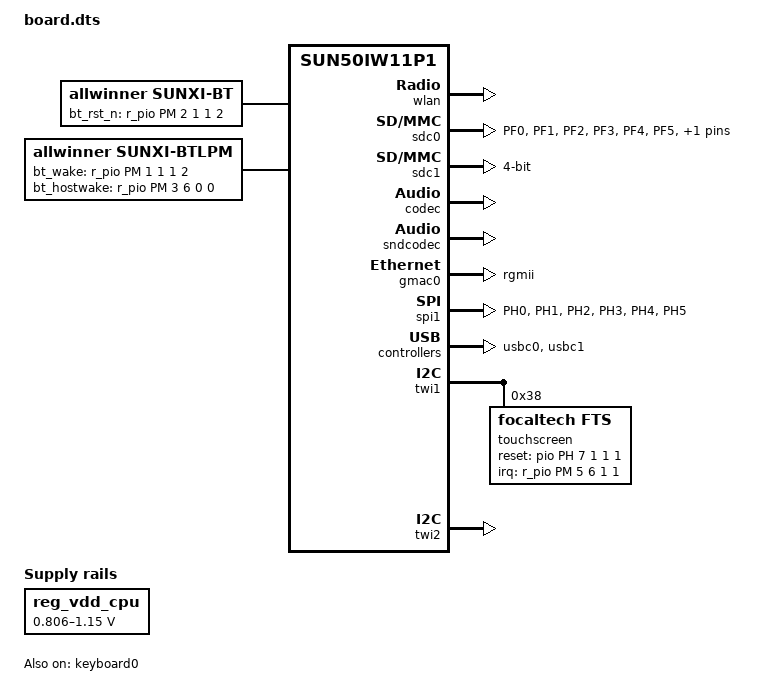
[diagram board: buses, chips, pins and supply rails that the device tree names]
/*
 * Allwinner Technology CO., Ltd. sun8iw15p1 soc board.
 *
 * soc board support.
 */

/dts-v1/;
#include <dt-bindings/pwm/pwm.h>
#include "sun50iw11p1.dtsi"
/{
	compatible = "allwinner,r329", "arm,sun50iw11p1";

	aliases {
		standby_param = &standby_param;
	};

	reg_vdd_cpu: vdd-cpu {
		compatible = "sunxi-pwm-regulator";
		pwms = <&pwm 6 5000 0>;
		regulator-name = "vdd_cpu";
		regulator-min-microvolt = <806000>;
		regulator-max-microvolt = <1150000>;
		regulator-ramp-delay = <25>;
		regulator-always-on;
		regulator-boot-on;
		status = "okay";
	};

	cpu_opp_l_table: opp_l_table {
		compatible = "operating-points-v2";
		opp-shared;

		opp@720000000 {
			opp-hz = /bits/ 64 <720000000>;
			opp-microvolt = <820000>;
			clock-latency-ns = <244144>;
		};
		opp@936000000 {
			opp-hz = /bits/ 64 <936000000>;
			opp-microvolt = <820000>;
			clock-latency-ns = <244144>;
		};
		opp@1104000000 {
			opp-hz = /bits/ 64 <1104000000>;
			opp-microvolt = <900000>;
			clock-latency-ns = <244144>;
		};
		opp@1200000000 {
			opp-hz = /bits/ 64 <1200000000>;
			opp-microvolt = <950000>;
			clock-latency-ns = <244144>;
		};
		opp@1320000000 {
			opp-hz = /bits/ 64 <1320000000>;
			opp-microvolt = <1000000>;
			clock-latency-ns = <244144>;
		};
		opp@1416000000 {
			opp-hz = /bits/ 64 <1416000000>;
			opp-microvolt = <1050000>;
			clock-latency-ns = <244144>;
		};
		opp@1512000000 {
			opp-hz = /bits/ 64 <1512000000>;
			opp-microvolt = <1050000>;
			clock-latency-ns = <244144>;
		};
	};

	soc@03000000 {

		wlan:wlan {
			compatible = "allwinner,sunxi-wlan";
			clocks = <&clk_losc_out>;
			wlan_busnum   = <0x1>;
			wlan_regon    = <&r_pio PM 0 1 0xffffffff 0xffffffff 0>;
			wlan_hostwake = <&r_pio PM 4 6 0xffffffff 0xffffffff 0>;
			status = "okay";
			wakeup-source;
		};

		bt:bt {
			compatible = "allwinner,sunxi-bt";
			clocks = <&clk_losc_out>;
			bt_rst_n = <&r_pio PM 2 1 1 2 0>;
			status = "okay";
		};
		btlpm:btlpm {
			compatible = "allwinner,sunxi-btlpm";
			uart_index = <1>;
			bt_wake = <&r_pio PM 1 1 1 2 1>;
			bt_hostwake = <&r_pio PM 3 6 0 0 0>;
			status = "okay";
		};

		standby_param: standby_param {
			vdd-cpu = <0x00000000>;
			vdd-sys = <0x00000000>;
			vcc-pll = <0x00000000>;

			osc24m-on = <0x1>;
			pllcpu-off = <0x1>;
			pllperiph0-off = <0x1>;
			pllaudio0-off = <0x0>;
			pllaudio1-off = <0x1>;
			ahb1ahb2-to-32k = <0x1>;
			apb1-to-32k = <0x0>;
			apb2-to-32k = <0x1>;
			axi-to-32k = <0x1>;
			apbs0-to-32k = <0x0>;
			apbs1-to-32k = <0x0>;

			pmu-exist = <0x0>;
			nmi-wakeup = <0x0>;
			uart-off  = <0x0>;

			sleep-freq = <24000>;
		};



		sdc0: sdmmc@04020000 {
			compatible = "allwinner,sunxi-mmc-v5p3x";
			pinctrl-0 = <&sdc0_pins_a>;
			pinctrl-1 = <&sdc0_pins_b>;
			cd-gpios = <&pio PF 6 6 1 3 0xffffffff>;
			cd-used-24M;
			/*broken-cd;*/
			/*cd-inverted*/
			/*data3-detect;*/
			cap-sd-highspeed;
			/*sd-uhs-sdr50;*/
			/*sd-uhs-ddr50;*/
			/*sd-uhs-sdr104;*/
			no-mmc;
			max-frequency = <50000000>;
			status = "okay";
		};

		sdc1: sdmmc@04021000 {
			sdc1_used       = <1>;
                        bus-width       = <4>;
			sdc1_clk        = <&r_pio PG 0 2 1 3 0xffffffff>;
			sdc1_cmd        = <&r_pio PG 1 2 1 3 0xffffffff>;
			sdc1_d0         = <&r_pio PG 2 2 1 3 0xffffffff>;
			sdc1_d1         = <&r_pio PG 3 2 1 3 0xffffffff>;
			sdc1_d2         = <&r_pio PG 4 2 1 3 0xffffffff>;
			sdc1_d3         = <&r_pio PG 5 2 1 3 0xffffffff>;
			cap-sdio-irq;
			max-frequency   = <150000000>;
                        status = "okay";
		};

		r_pio: pinctrl@07022000 {
			s_pwm3_pin_a: s_pwm3@0 {
				allwinner,pins = "PL5";
				allwinner,function = "s_pwm3";
				allwinner,muxsel = <0x05>;
				allwinner,drive = <0x2>;
				allwinner,pull = <0>;
				allwinner,data = <0xffffffff>;
			};

			s_pwm3_pin_b: s_pwm3@1 {
				allwinner,pins = "PL5";
				allwinner,function = "io_disabled";
				allwinner,muxsel = <0x07>;
				allwinner,drive = <0x2>;
				allwinner,pull = <0>;
				allwinner,data = <0xffffffff>;
			};
		};

		pio: pinctrl@0300b000 {
			spi1_pins_a: spi1@0 {
				allwinner,pins = "PH0", "PH1", "PH2", "PH3",
						 "PH4", "PH5";
				allwinner,pname = "dbi_csx", "dbi_sclk",
						  "dbi_sdo", "dbi_sdi",
						  "dbi_dcx", "dbi_te";
		                allwinner,muxsel = <4>;
			};

			spi1_pins_c: spi1@2 {
				allwinner,pins = "PH0", "PH1", "PH2", "PH3",
						 "PH4", "PH5";
				allwinner,function = "io_disabled";
				allwinner,muxsel = <7>;
			};

			pwm0_pin_a: pwm0@0 {
				allwinner,pins = "PB0";
				allwinner,function = "pwm0";
				allwinner,muxsel = <0x03>;
				allwinner,drive = <0x2>;
				allwinner,pull = <0>;
				allwinner,data = <0xffffffff>;
			};

			pwm0_pin_b: pwm0@1 {
				allwinner,pins = "PB0";
				allwinner,function = "io_disabled";
				allwinner,muxsel = <0x07>;
				allwinner,drive = <0x2>;
				allwinner,pull = <0>;
				allwinner,data = <0xffffffff>;
			};

			pwm1_pin_a: pwm1@0 {
				allwinner,pins = "PB1";
				allwinner,function = "pwm1";
				allwinner,muxsel = <0x03>;
				allwinner,drive = <0x2>;
				allwinner,pull = <0>;
				allwinner,data = <0xffffffff>;
			};

			pwm1_pin_b: pwm1@1 {
				allwinner,pins = "PB1";
				allwinner,function = "io_disabled";
				allwinner,muxsel = <0x07>;
				allwinner,drive = <0x2>;
				allwinner,pull = <0>;
				allwinner,data = <0xffffffff>;
			};

			pwm2_pin_a: pwm2@0 {
				allwinner,pins = "PB2";
				allwinner,function = "pwm2";
				allwinner,muxsel = <0x03>;
				allwinner,drive = <0x2>;
				allwinner,pull = <0>;
				allwinner,data = <0xffffffff>;
			};

			pwm2_pin_b: pwm2@1 {
				allwinner,pins = "PB2";
				allwinner,function = "io_disabled";
				allwinner,muxsel = <0x07>;
				allwinner,drive = <0x2>;
				allwinner,pull = <0>;
				allwinner,data = <0xffffffff>;
			};

			pwm6_pin_a: pwm6@0 {
				allwinner,pins = "PB6";
				allwinner,function = "pwm6";
				allwinner,muxsel = <0x03>;
				allwinner,drive = <0x2>;
				allwinner,pull = <0>;
				allwinner,data = <0xffffffff>;
			};

			pwm6_pin_b: pwm6@1 {
				allwinner,pins = "PB6";
				allwinner,function = "io_disabled";
				allwinner,muxsel = <0x07>;
				allwinner,drive = <0x2>;
				allwinner,pull = <0>;
				allwinner,data = <0xffffffff>;
			};

			pwm4_pin_a: pwm4@0 {
				allwinner,pins = "PH6";
				allwinner,function = "pwm4";
				allwinner,muxsel = <0x05>;
				allwinner,drive = <0x2>;
				allwinner,pull = <0>;
				allwinner,data = <0xffffffff>;
			};

			pwm4_pin_b: pwm4@1 {
				allwinner,pins = "PH6";
				allwinner,function = "io_disabled";
				allwinner,muxsel = <0x07>;
				allwinner,drive = <0x2>;
				allwinner,pull = <0>;
				allwinner,data = <0xffffffff>;
			};

			sdc0_pins_a: sdc0@0 {
				allwinner,pins = "PF0", "PF1", "PF2",
						 "PF3", "PF4", "PF5";
				allwinner,function = "sdc0";
				allwinner,muxsel = <5>;
				allwinner,drive = <1>;
				allwinner,pull = <1>;
			};

			sdc0_pins_b: sdc0@1 {
				allwinner,pins = "PF0", "PF1", "PF2",
						 "PF3", "PF4", "PF5";
				allwinner,function = "io_disabled";
				allwinner,muxsel = <7>;
				allwinner,drive = <1>;
				allwinner,pull = <1>;
			};

			sdc0_pins_c: sdc0@2 {
				allwinner,pins = "PC0", "PC1", "PC2", "PC3",
						 "PC4", "PC5", "PC6";
				allwinner,function = "sdc0";
				allwinner,muxsel = <3>;
				allwinner,drive = <2>;
				allwinner,pull = <1>;
			};

			sdc0_pins_d: sdc0@3 {
				allwinner,pins = "PC0", "PC1", "PC2", "PC3",
						 "PC4", "PC5", "PC6";
				allwinner,function = "io_disabled";
				allwinner,muxsel = <7>;
				allwinner,drive = <1>;
				allwinner,pull = <1>;
			};

			sdc1_pins_a: sdc1@0 {
				allwinner,pins = "PG0", "PG1", "PG2",
						 "PG3", "PG4", "PG5";
				allwinner,function = "sdc1";
				allwinner,muxsel = <4>;
				allwinner,drive = <3>;
				allwinner,pull = <1>;
			};

			sdc1_pins_b: sdc1@1 {
				allwinner,pins = "PG0", "PG1", "PG2",
						 "PG3", "PG4", "PG5";
				allwinner,function = "io_disabled";
				allwinner,muxsel = <7>;
				allwinner,drive = <1>;
				allwinner,pull = <1>;
			};

		};

		msgbox0: msgbox0@0x03003000 {
			status = "okay";
		};

		msgbox1: msgbox1@0x03008000 {
			status = "okay";
		};

		daudio0:daudio@0x02004000 {
			mclk_div = <0x00>;
			frametype = <0x00>;
			tdm_config = <0x01>;
			sign_extend = <0x00>;
			tx_data_mode = <0x00>;
			rx_data_mode = <0x00>;
			msb_lsb_first = <0x00>;
			pcm_lrck_period = <0x80>;
			slot_width_select = <0x20>;
			dsp_card = <0x1>;
			status = "disabled";
		};

		daudio1:daudio@0x02005000 {
			mclk_div = <0x01>;
			frametype = <0x00>;
			tdm_config = <0x00>;
			sign_extend = <0x00>;
			tx_data_mode = <0x00>;
			rx_data_mode = <0x00>;
			msb_lsb_first = <0x01>;
			pcm_lrck_period = <0x20>;
			slot_width_select = <0x10>;
			status = "okay";
		};

		daudio2:daudio@0x02006000 {
			pcm_lrck_period = <0x100>;
			slot_width_select = <0x20>;
			frametype = <0x00>;
			tdm_config = <0x0>;
			mclk_div = <0x0>;
			sign_extend = <0x00>;
			tx_data_mode = <0x00>;
			rx_data_mode = <0x00>;
			msb_lsb_first = <0x00>;
			status = "okay";
		};

		r_daudio0:daudio@0x07033000 {
			compatible = "allwinner,sunxi-hifi-daudio";
			/* dsp config */
			mclk_div = <0x01>;
			frametype = <0x00>;
			tdm_config = <0x01>;
			sign_extend = <0x00>;
			tx_data_mode = <0x00>;
			rx_data_mode = <0x00>;
			msb_lsb_first = <0x00>;
			pcm_lrck_period = <0x80>;
			slot_width_select = <0x20>;
			capture_cma = <64>;
			playback_cma = <32>;
			tx_num = <1>;
			tx_chmap1 = <0x76543210>;
			tx_chmap0 = <0xFEDCBA98>;
			rx_num = <4>;
			rx_chmap3 = <0x03020100>;
			rx_chmap2 = <0x07060504>;
			rx_chmap1 = <0x0B0A0908>;
			rx_chmap0 = <0x0F0E0D0C>;
			rx_sync_en = <0x0>;
			audio_format = <0x01>;
			daudio_master = <0x04>;
			signal_inversion = <0x01>;
			daudio_used = <0x0>; /* be equal to status = "disabled" for dsp */
			status = "disabled";
		};

		r_daudio1:daudio@0x07034000 {
			/* dsp config */
			mclk_div = <0x01>;
			frametype = <0x00>;
			tdm_config = <0x01>;
			sign_extend = <0x00>;
			tx_data_mode = <0x00>;
			rx_data_mode = <0x00>;
			msb_lsb_first = <0x00>;
			pcm_lrck_period = <0x100>;
			slot_width_select = <0x20>;
			capture_cma = <64>;
			playback_cma = <64>;
			tx_num = <1>;
			tx_chmap1 = <0x76543210>;
			tx_chmap0 = <0xFEDCBA98>;
			rx_num = <4>;
			rx_chmap3 = <0x03020100>;
			rx_chmap2 = <0x07060504>;
			rx_chmap1 = <0x0B0A0908>;
			rx_chmap0 = <0x0F0E0D0C>;
			rx_sync_en = <0x0>;
			audio_format = <0x04>;
			daudio_master = <0x04>;
			signal_inversion = <0x03>;
			daudio_used = <0x0>; /* be equal to status = "okay" for dsp */
			status = "disabled"; /* should not be setup to "okay" */
		};

		spdif:spdif-controller@0x02002c00 {
			clk_parent = <0x3>;
			status = "disabled";
		};

		r_dmic:dmic-controller@0x07031000 {
			/* dsp config */
			capture_cma = <64>;
			rx_chmap = <0x76543210>;
			data_vol = <0xB0>;
			status = "disabled";
		};

		codec:codec@0x07032000 {
			pa_level = <0x1>;
			digital_vol = <0x00>;
			gpio-pa-power = <&r_pio PN 22 1 1 1 1>;
			gpio-boost-en = <&r_pio PN 20 1 1 1 1>;
			gpio-spk = <&r_pio PM 8 1 1 1 1>;
			/* dsp config */
			playback_cma = <32>;
			capture_cma = <64>;
			pa_msleep_time = <0x64>;
			spk_vol = <0x14>;
			mic1gain = <0x13>;
			mic2gain = <0x13>;
			mic3gain = <0x13>;
			mic4gain = <0x0>;
			mic5gain = <0x0>;
			mic6gain = <0x0>;
			mic_num = <0x6>;
			adcdrc_cfg = <0x00>;
			adchpf_cfg = <0x01>;
			dacdrc_cfg = <0x00>;
			dachpf_cfg = <0x00>;
			rx_sync_en = <0x0>;
			status = "okay";
		};

		cpudai:cpudai-controller@0x07032000 {
			dsp_card = <0x0>;
			status = "okay";
		};

		sndcodec:sound@0 {
			status = "okay";
		};

		snddaudio0:sound@1 {
			audio_format = <0x01>;
			daudio_master = <0x04>;
			signal_inversion = <0x01>;
			status = "disabled";
		};

		snddaudio1:sound@2 {
			audio_format = <0x05>;
			daudio_master = <0x01>;
			signal_inversion = <0x02>;
			status = "okay";
		};

		snddaudio2:sound@3 {
			audio_format = <0x04>;
			daudio_master = <0x01>;
			signal_inversion = <0x03>;
			status = "disabled";
		};

		snddaudio3:sound@4 {
			/*sunxi,snddaudio-codec = "ac107.2-0036";*/
			/*sunxi,snddaudio-codec-dai = "ac107-pcm0";*/
			audio_format = <0x01>;
			daudio_master = <0x04>;
			signal_inversion = <0x01>;
			status = "disabled";
		};

		snddaudio4:sound@5 {
			audio_format = <0x01>;
			daudio_master = <0x04>;
			signal_inversion = <0x01>;
			status = "disabled"; /* should not be setup to "okay" */
		};

		sndspdif:sound@6 {
			status = "disabled";
		};

		snddmic:sound@7 {
			status = "disabled";
		};

		gmac0:eth@0x04500000{
			phy-rst = <&r_pio PN 0 1 1 1 0>;
			use_ephy25m = <1>;
			phy-mode = "rgmii";
			tx-delay = <7>;
			rx-delay = <0>;
			status = "okay";
		};

		pwm0: pwm0@02000c00 {
			pinctrl-names = "active", "sleep";
			pinctrl-0 = <&pwm0_pin_a>;
			pinctrl-1 = <&pwm0_pin_b>;
		};

		pwm1: pwm1@02000c00 {
			pinctrl-names = "active", "sleep";
			pinctrl-0 = <&pwm1_pin_a>;
			pinctrl-1 = <&pwm1_pin_b>;
		};

		pwm2: pwm2@02000c00 {
			pinctrl-names = "active", "sleep";
			pinctrl-0 = <&pwm2_pin_a>;
			pinctrl-1 = <&pwm2_pin_b>;
		};

		pwm6: pwm6@02000c00 {
			pinctrl-names = "active", "sleep";
			pinctrl-0 = <&pwm6_pin_a>;
			pinctrl-1 = <&pwm6_pin_b>;
		};
		s_pwm3: s_pwm3@07020c00 {
			pinctrl-names = "active", "sleep";
			pinctrl-0 = <&s_pwm3_pin_a>;
			pinctrl-1 = <&s_pwm3_pin_b>;
		};

		pwm4: pwm4@02000c00 {
			pinctrl-names = "active", "sleep";
			pinctrl-0 = <&pwm4_pin_a>;
			pinctrl-1 = <&pwm4_pin_b>;
		};

		gpadc:gpadc {
			channel_num = <4>;
			channel_select = <0x0f>;
			channel_data_select = <0>;
			channel_compare_select = <0x0f>;
			channel_cld_select = <0x0f>;
			channel_chd_select = <0x0f>;
			channel0_compare_lowdata = <460000>;
			channel0_compare_higdata = <200000>;
			channel1_compare_lowdata = <460000>;
			channel1_compare_higdata = <200000>;
			channel2_compare_lowdata = <460000>;
			channel2_compare_higdata = <200000>;
			channel3_compare_lowdata = <460000>;
			channel3_compare_higdata = <200000>;
			status = "disabled";
		};

		s_cir0: s_cir@07040000 {
			device_type = "s_cir_rx";
			status = "okay";
		};

		ir1: ir@0x02003000 {
			device_type = "ir_tx";
			status = "okay";
		};

		spi1: spi@04026000 {
			pinctrl-0 = <&spi1_pins_a>;
			pinctrl-1 = <&spi1_pins_c>;
			spi_slave_mode = <0>;
			spi_dbi_enable = <0>;
			status = "okay";
			spi_board1 {
				device_type = "spi_board1";
				compatible = "sunxi,spidbi";
				spi-max-frequency = <0x5f5e100>;
				reg = <0x0>;
				status = "disable";
			};
		};

/*
 *usb_port_type: usb mode. 0-device, 1-host, 2-otg.
 *usb_detect_type: usb hotplug detect mode. 0-none, 1-vbus/id detect, 2-id/dpdm detect.
 *usb_id_gpio: gpio for id detect.
 *usb_det_vbus_gpio: gpio for id detect. gpio or "axp_ctrl";
 *usb_wakeup_suspend：0-SUPER_STANDBY, 1-USB_STANDBY.
 */
		usbc0:usbc0@0 {
			device_type = "usbc0";
			usb_port_type = <0x2>;
			usb_detect_type = <0x1>;
			usb_id_gpio = <&pio PB 3 0 0 0xffffffff 0xffffffff>;
			usb_det_vbus_gpio   = <&pio PB 3 0 0 0xffffffff 0xffffffff>;
			usb_regulator_io = "nocare";
			usb_wakeup_suspend = <0>;
			usb_serial_unique = <0>;
			usb_serial_number = "20080411";
			rndis_wceis = <1>;
			status = "okay";
		};

/*
		ehci0:ehci0-controller@0x04101000 {
			drvvbus-supply = <&reg_drivevbus>;
		};

		ohci0:ohci0-controller@0x04101400 {
			drvvbus-supply = <&reg_drivevbus>;
		};
*/

		usbc1:usbc1@0 {
			device_type = "usbc1";
			usb_regulator_io = "nocare";
			usb_wakeup_suspend = <0>;
			status = "okay";
		};

		/*
		- lcd_used: (1: enable this panel, 0: disable this panel)
		- lcd_driver_name: (string name which must be same with the definition in
		panel driver)
		- lcd_if: (0:SPI, 1:DBI)
		- lcd_dbi_if: (0:L3I1, 1:L3I2, 2:L4I1, 3:L4I2, 4:D2LI)
		- lcd_dbi_fmt: (0:RGB111, 1:RGB444, 2:RGB565, 3:RGB666, 4:RGB888)
		- lcd_rgb_order: (0:RGB, 1:RBG, 2:GRB, 3:GBR, 4:BRG, 5:BGR, 6:GRBG_0,
		  7:GRBG_1, 8:GBRG_0, 9:GBRG_1)

		  6 to 9 is  only for rgb565
		  to change the RGB order in two byte(16 bit).
		  format:R(5bit)--G_1(3bit)--G_0(3bit)--B(5bit)
		  G_0 mean the low 3 bit of G component
		  G_1 mean the high 3 bit of G component

		- lcd_data_speed: (speed of transfer, unit Mhz)
		- lcd_spi_bus_num: (spi master id, 0~3)
		- lcd_x: (width of panel)
		- lcd_y: (height of panel)
		- lcd_pwm_used: (use pwm or not. 1:used, 0:not used)
		- lcd_pwm_ch: (pwm channel id)
		- lcd_pwm_freq: (pwm frequency. unit:Hz)
		- lcd_pwm_pol: (pwm polarity)
		- lcd_backlight: (default backlight 0~255)
		- lcd_pixel_fmt: (pixel format of linux fbdev)

		enum lcdfb_pixel_format {
			LCDFB_FORMAT_ARGB_8888 = 0x00,	// MSB  A-R-G-B  LSB
			LCDFB_FORMAT_ABGR_8888 = 0x01,
			LCDFB_FORMAT_RGBA_8888 = 0x02,
			LCDFB_FORMAT_BGRA_8888 = 0x03,
			LCDFB_FORMAT_XRGB_8888 = 0x04,
			LCDFB_FORMAT_XBGR_8888 = 0x05,
			LCDFB_FORMAT_RGBX_8888 = 0x06,
			LCDFB_FORMAT_BGRX_8888 = 0x07,
			LCDFB_FORMAT_RGB_888 = 0x08,
			LCDFB_FORMAT_BGR_888 = 0x09,
			LCDFB_FORMAT_RGB_565 = 0x0a,
			LCDFB_FORMAT_BGR_565 = 0x0b,
			LCDFB_FORMAT_ARGB_4444 = 0x0c,
			LCDFB_FORMAT_ABGR_4444 = 0x0d,
			LCDFB_FORMAT_RGBA_4444 = 0x0e,
			LCDFB_FORMAT_BGRA_4444 = 0x0f,
			LCDFB_FORMAT_ARGB_1555 = 0x10,
			LCDFB_FORMAT_ABGR_1555 = 0x11,
			LCDFB_FORMAT_RGBA_5551 = 0x12,
			LCDFB_FORMAT_BGRA_5551 = 0x13,
		};
		- fb_buffer_num: (linux fbdev buffer num)
		- lcd_bl_en: (pin definition of backlight enable)
		- lcd_gpio_X: (pin definition for general purpose such as reset pin, X
		is 0 to 8)
		- lcd_spi_dc_pin: (pin definition of DC pin when lcd_if euqal 0)
		*/

		// lcd_fb0: lcd_fb0@0 {
		// 	lcd_used = <1>;
		// 	lcd_driver_name = "nv3029s";
		// 	lcd_if = <1>;
		// 	lcd_dbi_if = <4>;
		// 	lcd_data_speed = <60>;
		// 	lcd_spi_bus_num = <1>;
		// 	lcd_x = <240>;
		// 	lcd_y = <320>;

		// 	lcd_pixel_fmt = <0>;
		// 	lcd_dbi_fmt = <3>;
		// 	lcd_rgb_order = <0>;

		// 	lcd_width = <60>;
		// 	lcd_height = <95>;
		// 	lcd_pwm_used = <1>;
		// 	lcd_pwm_ch = <4>;
		// 	lcd_pwm_freq = <5000>;
		// 	lcd_pwm_pol = <0>;
		// 	lcd_frm = <1>;
		// 	lcd_gamma_en = <1>;
		// 	fb_buffer_num = <2>;
		// 	lcd_backlight = <100>;
		// 	lcd_gpio_0 = <&r_pio PN 21 1 1 1 1>;
		// 	lcd_fps = <60>;
		// };

		lcd_fb0: lcd_fb0@0 {
			lcd_used = <1>;
			lcd_driver_name = "nv3029s";
			lcd_pwm_freq = <5000>;
			lcd_pwm_ch = <4>;
			lcd_pwm_used = <1>;
			lcd_y = <240>;
			lcd_x = <240>;
			lcd_spi_bus_num = <1>;
			lcd_data_speed = <60>;
			lcd_if = <0>;
			lcd_pwm_pol = <0>;
			lcd_pixel_fmt = <10>;
			lcd_rgb_order = <0>;
			// fb_buffer_num = <1>; // default 2
			lcd_backlight = <200>;
			lcd_fps = <60>;
			lcd_spi_dc_pin = <&pio PH 4 1 1 2 1>;
			// lcd_gpio_0 = <&pio PH 4 1 1 2 1>;
			// lcd_bl_en = <&pio PH 2 1 1 2 1>;
			lcd_dbi_te = <0>;

		};

		/*lcd_fb0: lcd_fb0@0 {
			lcd_used = <1>;
			lcd_driver_name = "kld35512";
			lcd_if = <1>;
			lcd_dbi_if = <4>;
			lcd_data_speed = <60>;
			lcd_spi_bus_num = <1>;
			lcd_x = <320>;
			lcd_y = <480>;

			lcd_pixel_fmt = <10>;
			lcd_dbi_fmt = <2>;
			lcd_rgb_order = <0>;
			lcd_width = <60>;
			lcd_height = <95>;
			lcd_pwm_used = <1>;
			lcd_pwm_ch = <4>;
			lcd_pwm_freq = <5000>;
			lcd_pwm_pol = <0>;
			lcd_frm = <1>;
			lcd_gamma_en = <1>;
			fb_buffer_num = <2>;
			lcd_backlight = <100>;
			lcd_fps = <40>;
			lcd_dbi_te = <1>;
			lcd_dbi_clk_mode = <1>;
			lcd_gpio_0 = <&r_pio PN 21 1 1 1 1>;
		};*/

		/*lcd_fb0: lcd_fb0@0 {
			lcd_used = <1>;
			lcd_driver_name = "kld2844b";
			lcd_if = <1>;
			lcd_dbi_if = <4>;
			lcd_data_speed = <60>;
			lcd_spi_bus_num = <1>;
			lcd_x = <240>;
			lcd_y = <320>;
			lcd_width = <60>;
			lcd_height = <95>;
			lcd_pwm_used = <1>;
			lcd_pwm_ch = <4>;
			lcd_pwm_freq = <5000>;
			lcd_pwm_pol = <0>;
			lcd_pixel_fmt = <0>;
			lcd_dbi_fmt = <3>;
			lcd_rgb_order = <0>;
			lcd_frm = <1>;
			lcd_gamma_en = <1>;
			fb_buffer_num = <2>;
			lcd_backlight = <100>;
			lcd_dbi_te = <1>;
			lcd_fps = <60>;
			lcd_gpio_0 = <&r_pio PN 21 1 1 1 1>;
		};*/

		/* kld2844b-tlsc6x */
		/*twi1: twi@0x02502400{
			status = "okay";
			tlsc6x: tlsc6x@2e {
				compatible = "tlsc6x,tlsc6x_ts";
				reg = <0x2e>;
				reset-gpio = <&pio PH 7 1 1 1 1>;
				irq-gpio = <&r_pio PM 5 6 1 1 1>;
				TP_MAX_X = <240>;
				TP_MAX_Y = <320>;
				revert_x_flag = <1>;
				revert_y_flag = <0>;
				exchange_x_y_flag = <1>;
				status = "okay";
			};
		};*/

		/* kld35512-_FT6336G and nv3029s-_FT6236U */
		twi1: twi@0x02502400{
			status = "okay";
			touchscreen: fts@38 {
				compatible = "focaltech,fts";
				reg = <0x38>;
				focaltech,reset-gpio = <&pio PH 7 1 1 1 1>;
				focaltech,irq-gpio = <&r_pio PM 5 6 1 1 1>;
				focaltech,max-touch-number = <1>;
				focaltech,display-coords = <0 0 240 320>;

				/*focaltech,have-key;*/
				focaltech,key-number = <0>;
				focaltech,keys = <139 102 158>;
				focaltech,key-y-coord = <2000>;
				focaltech,key-x-coords = <200 600 800>;
			};
		};

		keyboard0:keyboard{
			compatible = "allwinner,keyboard_1350mv";
			reg = <0x0 0x07030800 0x0 0x400>;
			clocks = <&clk_lradc>;
			interrupts = <GIC_SPI 115 IRQ_TYPE_NONE>;
			status = "okay";
			key_cnt = <5>;

			key0 = <160 115>;
			key1 = <317 114>;
			key2 = <474 248>;
			key3 = <614 164>;
			key4 = <880 102>;

			// key0 = <210 115>;
			// key1 = <410 114>;
			// key2 = <590 248>;
			// key3 = <750 164>;
			// key4 = <880 102>;
			wakeup-source;
		};

	};

};

&cpu0 {
	cpu-supply = <&reg_vdd_cpu>;
};

&twi2{
	no_suspend = <1>;
	status = "okay";
/*
	ac107@36 {
		compatible = "Allwinnertech,ac107_0";
		reg = <0x36>;
		status = "okay";
	};
*/
/*
	ac108@3B {
		compatible = "Allwinner,MicArray_0";
		device_type = "MicArray_0";
		reg = <0x3B>;
		regulator_used = <0x0>;
		power_voltage = <3300000>;
		regulator_name = "vcc-3v3";
		power_gpio_used = <0x0>;
		power-gpio = <&pio PH 7 1 1 1 1>;
		reset_gpio_used = <0x0>;
		reset-gpio = <&pio PH 6 1 1 1 1>;
		twi_bus = <0x1>;
		pga_gain = <0x1F>;
		slot_width = <0x20>;
		lrck_period = <0x80>;
		ref_pga_used = <0x1>;
		ref_pga_gain = <0x10>;
		ref_channel = <0x3>;
		debug_mode = <0x0>;
	};
	ac108@35 {
		compatible = "Allwinner,MicArray_1";
		reg = <0x35>;
		device_type = "MicArray_1";
		regulator_used = <0x0>;
		power_voltage = <3300000>;
		regulator_name = "vcc-3v3";
		power_gpio_used = <0x0>;
		power-gpio = <&pio PH 5 1 1 1 1>;
		reset_gpio_used = <0x0>;
		reset-gpio = <&pio PH 4 1 1 1 1>;
		twi_bus = <0x1>;
		pga_gain = <0x1E>;
		slot_width = <0x20>;
		lrck_period = <0x80>;
		ref_pga_used = <0x0>;
		ref_pga_gain = <0x12>;
		ref_channel = <0x0>;
		debug_mode = <0x0>;
	};
*/

};

